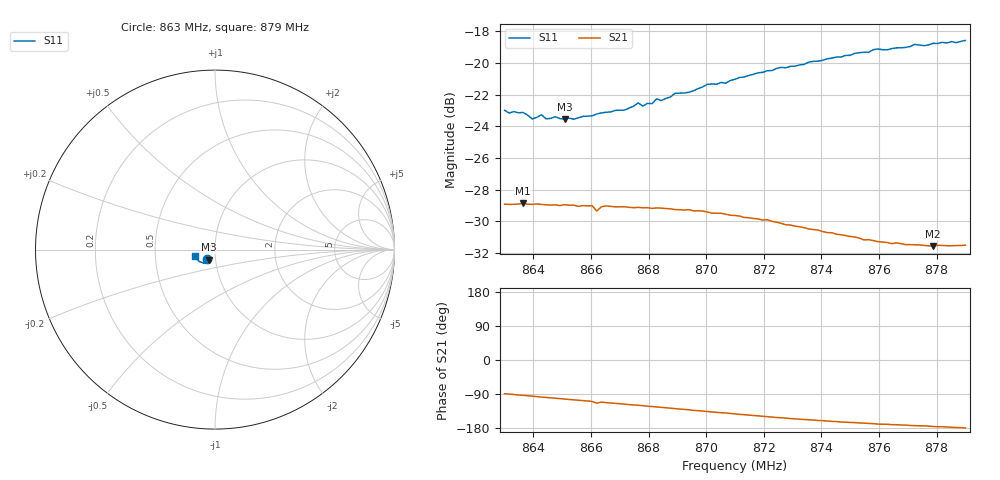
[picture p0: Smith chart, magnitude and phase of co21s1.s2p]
# HZ S RI R 50
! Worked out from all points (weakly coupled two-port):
!   101 points, 863 MHz to 879 MHz, reference 50 ohm
!   highest |S21| = -28.87 dB at 863.64 MHz (marker M1); lowest = -31.6 dB at 877.88 MHz (marker M2)
!   lowest |S11| = -23.6 dB at 865.08 MHz (marker M3), VSWR 1.14, Z = 46.3 - j5.21 ohm
!   |S11| at or under -10 dB: start of sweep to end of sweep
!   S12 and S22 are empty: the file has one direction only
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8.63e8  -0.0448 -0.0549  0.000717 -0.0358  0 0  0 0
8.6364e8  -0.0423 -0.0555  -0.00199 -0.0359  0 0  0 0
8.6396e8  -0.0395 -0.0535  -0.00328 -0.0356  0 0  0 0
8.6428e8  -0.0392 -0.0562  -0.00492 -0.0354  0 0  0 0
8.6444e8  -0.0386 -0.0543  -0.00542 -0.0352  0 0  0 0
8.6508e8  -0.0357 -0.056  -0.00806 -0.0347  0 0  0 0
8.6572e8  -0.0357 -0.0576  -0.0105 -0.0338  0 0  0 0
8.6604e8  -0.035 -0.0584  -0.0118 -0.0334  0 0  0 0
8.662e8  -0.0363 -0.0587  -0.0139 -0.0311  0 0  0 0
8.6652e8  -0.0344 -0.0608  -0.0135 -0.0326  0 0  0 0
8.6716e8  -0.0343 -0.0621  -0.0156 -0.0315  0 0  0 0
8.6764e8  -0.0365 -0.0652  -0.0172 -0.0304  0 0  0 0
8.678e8  -0.0357 -0.0637  -0.0177 -0.03  0 0  0 0
8.6812e8  -0.0362 -0.065  -0.0188 -0.0292  0 0  0 0
8.6828e8  -0.0361 -0.068  -0.0195 -0.0289  0 0  0 0
8.6844e8  -0.0368 -0.0666  -0.0199 -0.0285  0 0  0 0
8.6892e8  -0.0391 -0.07  -0.0213 -0.027  0 0  0 0
8.71e8  -0.0499 -0.0734  -0.0261 -0.0201  0 0  0 0
8.7372e8  -0.0692 -0.0738  -0.0277 -0.0109  0 0  0 0
8.7644e8  -0.0929 -0.0607  -0.0265 -0.00437  0 0  0 0
8.7788e8  -0.105 -0.0478  -0.0263 -0.00215  0 0  0 0
8.79e8  -0.1116 -0.0375  -0.0266 -0.000291  0 0  0 0
